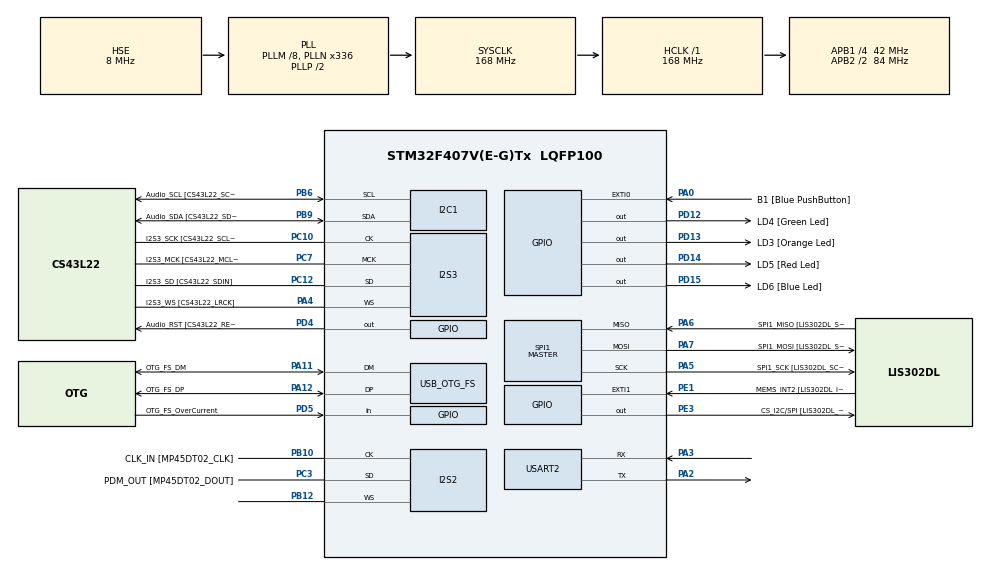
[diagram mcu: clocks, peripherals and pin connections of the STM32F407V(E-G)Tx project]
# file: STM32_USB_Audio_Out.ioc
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Dma.Request0=SPI2_RX
Dma.Request1=SPI3_TX
Dma.SPI2_RX.0.Direction=DMA_PERIPH_TO_MEMORY
Dma.SPI2_RX.0.FIFOMode=DMA_FIFOMODE_DISABLE
Dma.SPI2_RX.0.Instance=DMA1_Stream3
Dma.SPI2_RX.0.MemDataAlignment=DMA_MDATAALIGN_HALFWORD
Dma.SPI2_RX.0.MemInc=DMA_MINC_ENABLE
Dma.SPI2_RX.0.Mode=DMA_CIRCULAR
Dma.SPI2_RX.0.PeriphDataAlignment=DMA_PDATAALIGN_HALFWORD
Dma.SPI2_RX.0.PeriphInc=DMA_PINC_DISABLE
Dma.SPI2_RX.0.Priority=DMA_PRIORITY_HIGH
Dma.SPI3_TX.1.Direction=DMA_MEMORY_TO_PERIPH
Dma.SPI3_TX.1.FIFOMode=DMA_FIFOMODE_ENABLE
Dma.SPI3_TX.1.FIFOThreshold=DMA_FIFO_THRESHOLD_FULL
Dma.SPI3_TX.1.Instance=DMA1_Stream7
Dma.SPI3_TX.1.MemBurst=DMA_MBURST_SINGLE
Dma.SPI3_TX.1.MemDataAlignment=DMA_MDATAALIGN_HALFWORD
Dma.SPI3_TX.1.MemInc=DMA_MINC_ENABLE
Dma.SPI3_TX.1.Mode=DMA_NORMAL
Dma.SPI3_TX.1.PeriphBurst=DMA_PBURST_SINGLE
Dma.SPI3_TX.1.PeriphDataAlignment=DMA_PDATAALIGN_HALFWORD
Dma.SPI3_TX.1.PeriphInc=DMA_PINC_DISABLE
Dma.SPI3_TX.1.Priority=DMA_PRIORITY_HIGH
I2S2.AudioFreq=I2S_AUDIOFREQ_96K
I2S2.CPOL=I2S_CPOL_HIGH
I2S2.ErrorAudioFreq=0.8 %
I2S2.FullDuplexMode=I2S_FULLDUPLEXMODE_DISABLE
I2S2.Instance=SPI$Index
I2S2.Mode=I2S_MODE_MASTER_RX
I2S2.RealAudioFreq=96.774 KHz
I2S2.VirtualMode=I2S_MODE_MASTER
I2S3.AudioFreq-Half_Duplex_Master=I2S_AUDIOFREQ_96K
I2S3.ErrorAudioFreq=-2.34 %
I2S3.ErrorAudioFreq-Half_Duplex_Master=0.8 %
I2S3.FullDuplexMode=I2S_FULLDUPLEXMODE_DISABLE
I2S3.Instance=SPI$Index
I2S3.RealAudioFreq=93.75 KHz
I2S3.RealAudioFreq-Half_Duplex_Master=96.774 KHz
I2S3.VirtualMode=I2S_MODE_MASTER
Mcu.Family=STM32F4
Mcu.Name=STM32F407V(E-G)Tx
Mcu.Package=LQFP100
NVIC.DMA1_Stream3_IRQn=true\:0\:0\:false\:false\:true\:false\:true
NVIC.DMA1_Stream7_IRQn=true\:0\:0\:false\:false\:true\:false\:true
NVIC.EXTI0_IRQn=true\:0\:0\:false\:false\:true\:true\:true
NVIC.OTG_FS_IRQn=true\:0\:0\:false\:false\:true\:true\:true
NVIC.PriorityGroup=NVIC_PRIORITYGROUP_0
NVIC.SPI1_IRQn=true\:0\:0\:false\:false\:true\:true\:true
NVIC.SPI2_IRQn=true\:0\:0\:false\:false\:true\:true\:true
NVIC.SPI3_IRQn=true\:0\:0\:false\:false\:true\:true\:true
PA0-WKUP.GPIO_Label=B1 [Blue PushButton]
PA0-WKUP.GPIO_ModeDefaultEXTI=GPIO_MODE_IT_RISING
PA0-WKUP.GPIO_PuPd=GPIO_NOPULL
PA0-WKUP.Signal=GPXTI0
PA11.GPIO_Label=OTG_FS_DM
PA11.GPIO_Mode=GPIO_MODE_AF_PP
PA11.GPIO_PuPd=GPIO_NOPULL
PA11.GPIO_Speed=GPIO_SPEED_FREQ_LOW
PA11.Mode=Device_Only
PA11.Signal=USB_OTG_FS_DM
PA12.GPIO_Label=OTG_FS_DP
PA12.GPIO_Mode=GPIO_MODE_AF_PP
PA12.GPIO_PuPd=GPIO_NOPULL
PA12.GPIO_Speed=GPIO_SPEED_FREQ_LOW
PA12.Mode=Device_Only
PA12.Signal=USB_OTG_FS_DP
PA13.GPIO_Label=SWDIO
PA13.Mode=Serial_Wire
PA13.Signal=SYS_JTMS-SWDIO
PA14.GPIO_Label=SWCLK
PA14.Mode=Serial_Wire
PA14.Signal=SYS_JTCK-SWCLK
PA2.Mode=Asynchronous
PA2.Signal=USART2_TX
PA3.Mode=Asynchronous
PA3.Signal=USART2_RX
PA4.GPIO_Label=I2S3_WS [CS43L22_LRCK]
PA4.GPIO_Mode=GPIO_MODE_AF_PP
PA4.GPIO_PuPd=GPIO_NOPULL
PA4.GPIO_Speed=GPIO_SPEED_FREQ_LOW
PA4.Mode=Half_Duplex_Master
PA4.Signal=I2S3_WS
PA5.GPIO_Label=SPI1_SCK [LIS302DL_SCL/SPC]
PA5.GPIO_Mode=GPIO_MODE_AF_PP
PA5.GPIO_PuPd=GPIO_NOPULL
PA5.GPIO_Speed=GPIO_SPEED_FREQ_LOW
PA5.Mode=Full_Duplex_Master
PA5.Signal=SPI1_SCK
PA6.GPIO_Label=SPI1_MISO [LIS302DL_SDO]
PA6.GPIO_Mode=GPIO_MODE_AF_PP
PA6.GPIO_PuPd=GPIO_NOPULL
PA6.GPIO_Speed=GPIO_SPEED_FREQ_LOW
PA6.Mode=Full_Duplex_Master
PA6.Signal=SPI1_MISO
PA7.GPIO_Label=SPI1_MOSI [LIS302DL_SDA/SDI/SDO]
PA7.GPIO_Mode=GPIO_MODE_AF_PP
PA7.GPIO_PuPd=GPIO_NOPULL
PA7.GPIO_Speed=GPIO_SPEED_FREQ_LOW
PA7.Mode=Full_Duplex_Master
PA7.Signal=SPI1_MOSI
PB10.GPIO_Label=CLK_IN [MP45DT02_CLK]
PB10.GPIO_Mode=GPIO_MODE_AF_PP
PB10.GPIO_PuPd=GPIO_NOPULL
PB10.GPIO_Speed=GPIO_SPEED_FREQ_LOW
PB10.Mode=Half_Duplex_Master
PB10.Signal=I2S2_CK
PB12.Mode=Half_Duplex_Master
PB12.Signal=I2S2_WS
PB3.Signal=SYS_JTDO-SWO
PB6.GPIO_Label=Audio_SCL [CS43L22_SCL]
PB6.GPIO_Mode=GPIO_MODE_AF_OD
PB6.GPIO_PuPd=GPIO_NOPULL
PB6.GPIO_Speed=GPIO_SPEED_FREQ_LOW
PB6.Mode=I2C
PB6.Signal=I2C1_SCL
PB9.GPIO_Label=Audio_SDA [CS43L22_SDA]
PB9.GPIO_Mode=GPIO_MODE_AF_OD
PB9.GPIO_PuPd=GPIO_NOPULL
PB9.GPIO_Speed=GPIO_SPEED_FREQ_LOW
PB9.Mode=I2C
PB9.Signal=I2C1_SDA
PC10.GPIO_Label=I2S3_SCK [CS43L22_SCLK]
PC10.GPIO_Mode=GPIO_MODE_AF_PP
PC10.GPIO_PuPd=GPIO_NOPULL
PC10.GPIO_Speed=GPIO_SPEED_FREQ_LOW
PC10.Mode=Half_Duplex_Master
PC10.Signal=I2S3_CK
PC12.GPIO_Label=I2S3_SD [CS43L22_SDIN]
PC12.GPIO_Mode=GPIO_MODE_AF_PP
PC12.GPIO_PuPd=GPIO_NOPULL
PC12.GPIO_Speed=GPIO_SPEED_FREQ_LOW
PC12.Mode=Half_Duplex_Master
PC12.Signal=I2S3_SD
PC14-OSC32_IN.GPIO_Label=PC14-OSC32_IN
PC14-OSC32_IN.Mode=LSE-External-Oscillator
PC14-OSC32_IN.Signal=RCC_OSC32_IN
PC15-OSC32_OUT.GPIO_Label=PC15-OSC32_OUT
PC15-OSC32_OUT.Mode=LSE-External-Oscillator
PC15-OSC32_OUT.Signal=RCC_OSC32_OUT
PC3.GPIO_Label=PDM_OUT [MP45DT02_DOUT]
PC3.GPIO_Mode=GPIO_MODE_AF_PP
PC3.GPIO_PuPd=GPIO_NOPULL
PC3.GPIO_Speed=GPIO_SPEED_FREQ_LOW
PC3.Mode=Half_Duplex_Master
PC3.Signal=I2S2_SD
PC7.GPIO_Label=I2S3_MCK [CS43L22_MCLK]
PC7.GPIO_Mode=GPIO_MODE_AF_PP
PC7.GPIO_PuPd=GPIO_NOPULL
PC7.GPIO_Speed=GPIO_SPEED_FREQ_LOW
PC7.Mode=Master_Clock_Activated
PC7.Signal=I2S3_MCK
PD12.GPIO_Label=LD4 [Green Led]
PD12.GPIO_PuPd=GPIO_NOPULL
PD12.GPIO_Speed=GPIO_SPEED_FREQ_LOW
PD12.Signal=GPIO_Output
PD13.GPIO_Label=LD3 [Orange Led]
PD13.GPIO_PuPd=GPIO_NOPULL
PD13.GPIO_Speed=GPIO_SPEED_FREQ_LOW
PD13.Signal=GPIO_Output
PD14.GPIO_Label=LD5 [Red Led]
PD14.GPIO_PuPd=GPIO_NOPULL
PD14.GPIO_Speed=GPIO_SPEED_FREQ_LOW
PD14.Signal=GPIO_Output
PD15.GPIO_Label=LD6 [Blue Led]
PD15.GPIO_PuPd=GPIO_NOPULL
PD15.GPIO_Speed=GPIO_SPEED_FREQ_LOW
PD15.Signal=GPIO_Output
PD4.GPIO_Label=Audio_RST [CS43L22_RESET]
PD4.GPIO_PuPd=GPIO_NOPULL
PD4.GPIO_Speed=GPIO_SPEED_FREQ_LOW
PD4.Signal=GPIO_Output
PD5.GPIO_Label=OTG_FS_OverCurrent
PD5.GPIO_Mode=GPIO_MODE_INPUT
PD5.GPIO_PuPd=GPIO_NOPULL
PD5.Signal=GPIO_Input
PE1.GPIO_Label=MEMS_INT2 [LIS302DL_INT2]
PE1.GPIO_ModeDefaultEXTI=GPIO_MODE_EVT_RISING
PE1.GPIO_PuPd=GPIO_NOPULL
PE1.Signal=GPXTI1
PE3.GPIO_Label=CS_I2C/SPI [LIS302DL_CS_I2C/SPI]
PE3.GPIO_PuPd=GPIO_NOPULL
PE3.GPIO_Speed=GPIO_SPEED_FREQ_LOW
PE3.Signal=GPIO_Output
PH0-OSC_IN.GPIO_Label=PH0-OSC_IN
PH0-OSC_IN.Mode=HSE-External-Oscillator
PH0-OSC_IN.Signal=RCC_OSC_IN
PH1-OSC_OUT.GPIO_Label=PH1-OSC_OUT
PH1-OSC_OUT.Mode=HSE-External-Oscillator
PH1-OSC_OUT.Signal=RCC_OSC_OUT
ProjectManager.HeapSize=0x2000
ProjectManager.StackSize=0x4000
ProjectManager.TargetToolchain=STM32CubeIDE
RCC.48MHZClocksFreq_Value=48000000
RCC.AHBFreq_Value=168000000
RCC.APB1CLKDivider=RCC_HCLK_DIV4
RCC.APB1Freq_Value=42000000
RCC.APB1TimFreq_Value=84000000
RCC.APB2CLKDivider=RCC_HCLK_DIV2
RCC.APB2Freq_Value=84000000
RCC.APB2TimFreq_Value=168000000
RCC.CortexFreq_Value=168000000
RCC.HCLKFreq_Value=168000000
RCC.HSE_VALUE=8000000
RCC.HSI_VALUE=16000000
RCC.PLLM=8
RCC.PLLN=336
RCC.PLLQ=7
RCC.SYSCLKFreq_VALUE=168000000
RCC.SYSCLKSource=RCC_SYSCLKSOURCE_PLLCLK
RCC.VCOOutputFreq_Value=336000000
SPI1.BaudRatePrescaler-Full_Duplex_Master=SPI_BAUDRATEPRESCALER_2
SPI1.CalculateBaudRate-Full_Duplex_Master=42.0 MBits/s
SPI1.Direction=SPI_DIRECTION_2LINES
SPI1.Mode=SPI_MODE_MASTER
SPI1.Mode-Full_Duplex_Master=SPI_MODE_MASTER
SPI1.VirtualType=VM_MASTER
USART2.VirtualMode=VM_ASYNC
USB_DEVICE.CLASS_NAME_FS=AUDIO
USB_DEVICE.USBD_AUDIO_FREQ-AUDIO_FS=48000
USB_DEVICE.VirtualMode-AUDIO_FS=Audio
USB_DEVICE.VirtualModeFS=Audio_FS
USB_OTG_FS.VirtualMode=Device_Only
VP_CRC_VS_CRC.Mode=CRC_Activate
VP_USB_DEVICE_VS_USB_DEVICE_AUDIO_FS.Mode=AUDIO_FS
board=STM32F407G-DISC1

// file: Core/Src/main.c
/* USER CODE BEGIN Header */
/**
  ******************************************************************************
  * @file           : main.c
  * @brief          : Main program body
  ******************************************************************************
  * @attention
  *
  * <h2><center>&copy; Copyright (c) 2020 STMicroelectronics.
  * All rights reserved.</center></h2>
  *
  * This software component is licensed by ST under Ultimate Liberty license
  * SLA0044, the "License"; You may not use this file except in compliance with
  * the License. You may obtain a copy of the License at:
  *                             www.st.com/SLA0044
  *
  ******************************************************************************
  */
/* USER CODE END Header */

#include "main.h"
#include "crc.h"
#include "dma.h"
#include "i2c.h"
#include "i2s.h"
#include "spi.h"
#include "usart.h"
#include "usb_device.h"
#include "gpio.h"

/* USER CODE BEGIN Includes */
#include "usbd_audio_if.h"
#include "pcm_buffer_pool.h"
#include "cs43l22.h"
#include "math.h"
/* USER CODE END Includes */

/* USER CODE BEGIN PV */

int16_t Sine_Wave[96];

extern uint16_t CS43L22_Buffer[];
extern uint8_t Ping_Flag;
extern uint8_t Pong_Flag;

/* USER CODE END PV */

void SystemClock_Config(void);

int main(void)
{

  /* MCU Configuration--------------------------------------------------------*/

  /* Reset of all peripherals, Initializes the Flash interface and the Systick. */
  HAL_Init();

  /* Configure the system clock */
  SystemClock_Config();

  /* Initialize all configured peripherals */
  MX_GPIO_Init();
  MX_DMA_Init();
  MX_I2C1_Init();
  MX_I2S3_Init();
  MX_SPI1_Init();
  MX_I2S2_Init();
  MX_USB_DEVICE_Init();
  MX_USART2_UART_Init();
  MX_CRC_Init();
  /* USER CODE BEGIN 2 */

	for(uint16_t i=0; i<48; i++)
	{
		Sine_Wave[i*2] =  0xFFFF*sinf(i*2*3.1416f*1000.0f/48000.0f);
		Sine_Wave[i*2+1] = Sine_Wave[i*2];
	}

   cs43l22_Init(CS43L22_I2C_ADDRESS, OUTPUT_DEVICE_HEADPHONE, 70, AUDIO_OUT_SAMPLING_FREQ);

   cs43l22_Play(CS43L22_I2C_ADDRESS, 0, 0);

   /** first time send dummy bytes */
   HAL_I2S_Transmit_DMA(&hi2s3, (uint16_t*)CS43L22_Buffer, AUDIO_OUT_PCM_SAMPLES);

  /* USER CODE END 2 */

  /* Infinite loop */
  /* USER CODE BEGIN WHILE */
  while (1)
  {
	  App_Loop();
    /* USER CODE END WHILE */

  }
}

void SystemClock_Config(void)
{
  RCC_OscInitTypeDef RCC_OscInitStruct = {0};
  RCC_ClkInitTypeDef RCC_ClkInitStruct = {0};
  RCC_PeriphCLKInitTypeDef PeriphClkInitStruct = {0};

  /** Configure the main internal regulator output voltage
  */
  __HAL_RCC_PWR_CLK_ENABLE();
  __HAL_PWR_VOLTAGESCALING_CONFIG(PWR_REGULATOR_VOLTAGE_SCALE1);
  /** Initializes the CPU, AHB and APB busses clocks
  */
  RCC_OscInitStruct.OscillatorType = RCC_OSCILLATORTYPE_HSE;
  RCC_OscInitStruct.HSEState = RCC_HSE_ON;
  RCC_OscInitStruct.PLL.PLLState = RCC_PLL_ON;
  RCC_OscInitStruct.PLL.PLLSource = RCC_PLLSOURCE_HSE;
  RCC_OscInitStruct.PLL.PLLM = 8;
  RCC_OscInitStruct.PLL.PLLN = 336;
  RCC_OscInitStruct.PLL.PLLP = RCC_PLLP_DIV2;
  RCC_OscInitStruct.PLL.PLLQ = 7;
  if (HAL_RCC_OscConfig(&RCC_OscInitStruct) != HAL_OK)
  {
    Error_Handler();
  }
  /** Initializes the CPU, AHB and APB busses clocks
  */
  RCC_ClkInitStruct.ClockType = RCC_CLOCKTYPE_HCLK|RCC_CLOCKTYPE_SYSCLK
                              |RCC_CLOCKTYPE_PCLK1|RCC_CLOCKTYPE_PCLK2;
  RCC_ClkInitStruct.SYSCLKSource = RCC_SYSCLKSOURCE_PLLCLK;
  RCC_ClkInitStruct.AHBCLKDivider = RCC_SYSCLK_DIV1;
  RCC_ClkInitStruct.APB1CLKDivider = RCC_HCLK_DIV4;
  RCC_ClkInitStruct.APB2CLKDivider = RCC_HCLK_DIV2;

  if (HAL_RCC_ClockConfig(&RCC_ClkInitStruct, FLASH_LATENCY_5) != HAL_OK)
  {
    Error_Handler();
  }
  PeriphClkInitStruct.PeriphClockSelection = RCC_PERIPHCLK_I2S;
  PeriphClkInitStruct.PLLI2S.PLLI2SN = 192;
  PeriphClkInitStruct.PLLI2S.PLLI2SR = 2;
  if (HAL_RCCEx_PeriphCLKConfig(&PeriphClkInitStruct) != HAL_OK)
  {
    Error_Handler();
  }
}

/* USER CODE BEGIN 4 */
void HAL_I2S_TxCpltCallback(I2S_HandleTypeDef *hi2s)
{
	if(hi2s == &hi2s3)
	{
		Pong_Flag = 1;
	}
}
void HAL_I2S_TxHalfCpltCallback(I2S_HandleTypeDef *hi2s)
{
	if(hi2s == &hi2s3)
	{
		Ping_Flag = 1;
	}
}

void HAL_I2S_RxHalfCpltCallback(I2S_HandleTypeDef *hi2s)
{
	if(hi2s == &hi2s2)
	{

	}
}
void HAL_I2S_RxCpltCallback(I2S_HandleTypeDef *hi2s)
{
	if(hi2s == &hi2s2)
	{

	}
}
/* USER CODE END 4 */

void Error_Handler(void)
{
}

/************************ (C) COPYRIGHT STMicroelectronics *****END OF FILE****/
